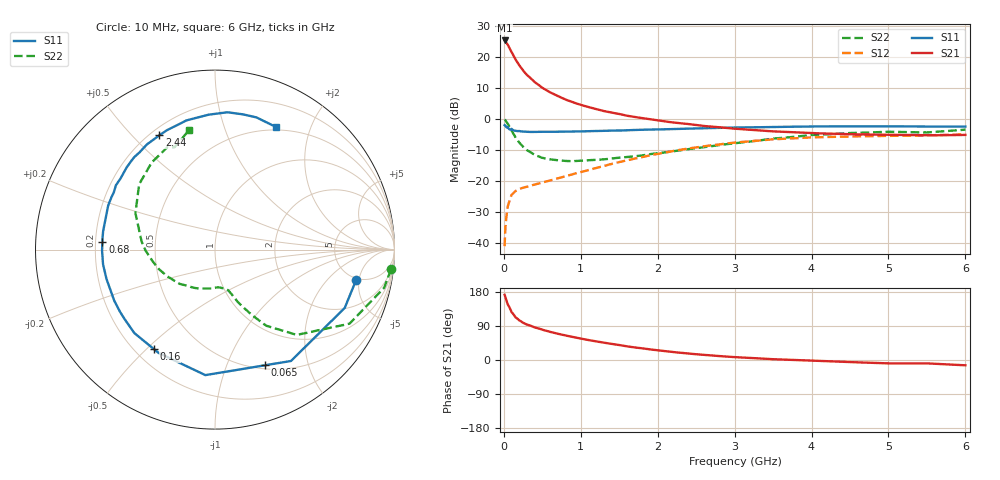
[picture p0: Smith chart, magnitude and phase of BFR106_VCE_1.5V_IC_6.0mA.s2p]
! Infineon Technologies  Discrete & RF Semiconductors
! BFR106
! VCE =  1.5 V,  IC =  6.0 mA
! Common Emitter S-Parameters:  Nov 2015
# GHz  S  MA  R  50
!  f  S11  S21  S12  S22
! GHz  MAG  ANG  MAG  ANG  MAG  ANG  MAG  ANG
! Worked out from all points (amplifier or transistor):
!   210 points, 10 MHz to 6 GHz, reference 50 ohm
!   highest |S21| = 25.5 dB at 10 MHz (marker M1)
!   |S21| within 3 dB of that: start of sweep to 84.01 MHz
!   unconditionally stable (mu >= 1): 570.7 MHz to 2.374 GHz; 4.066 GHz to end of sweep
!   at 185 MHz: K = 0.43, MSG = 20.4 dB, |S12| = -22.7 dB
!   at 1.52 GHz: K = 1.14, MAG = 5.4 dB, |S12| = -13.7 dB
!   at 6 GHz: K = 1.03, MAG = -1.1 dB, |S12| = -4.8 dB
!   S11 on the Smith chart (normalised r, x): 10 MHz: 4.73, -4.55; 65 MHz: 0.54, -1.38; 160 MHz: 0.27, -0.53; 680 MHz: 0.23, +0.03; 2.44 GHz: 0.23, +0.60; 6 GHz: 0.46, +1.51
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0.01  0.8041 -12.2  18.81 172.1  0.0089 84.8  0.9869 -6.4
0.02  0.7926 -24.2  18.49 165.8  0.0174 78.7  0.9663 -12.7
0.05  0.7512 -55.7  16.14 147.0  0.0386 63.0  0.8558 -28.8
0.065  0.7025 -66.5  14.81 142.0  0.0446 57.1  0.7898 -33.1
0.1  0.7014 -94.4  12.28 126.4  0.0599 48.2  0.6587 -46.2
0.15  0.6557 -118.7  9.343 112.9  0.069 40.2  0.5119 -56.0
0.16  0.6502 -121.7  8.958 111.5  0.0701 39.6  0.4937 -56.8
0.2  0.6467 -134.0  7.482 104.7  0.0748 37.4  0.4218 -60.4
0.24  0.635 -142.9  6.395 99.6  0.0777 36.4  0.3694 -63.2
0.3  0.6294 -153.1  5.205 93.5  0.0813 36.8  0.3179 -66.5
0.4  0.6263 -164.9  4.004 86.1  0.0882 38.6  0.2659 -69.5
0.5  0.6291 -172.5  3.23 79.8  0.0946 41.2  0.2383 -72.0
0.68  0.6291 175.9  2.442 70.3  0.1091 46.0  0.219 -78.6
0.8  0.6317 170.6  2.091 64.8  0.1203 48.5  0.2121 -83.6
1.02  0.638 160.8  1.683 55.8  0.1425 52.1  0.2154 -92.4
1.4  0.6582 147.0  1.281 42.5  0.1895 54.5  0.2329 -111.0
2.02  0.6859 127.7  0.95 25.2  0.2793 51.0  0.2846 -142.2
2.44  0.7085 115.9  0.826 16.2  0.3433 45.5  0.335 -162.6
3.1  0.7385 100.5  0.691 6.6  0.4303 34.1  0.4227 169.5
4.1  0.7677 83.5  0.593 -2.4  0.5133 16.6  0.5639 136.4
5.1  0.7697 71.5  0.559 -8.9  0.5424 2.8  0.6255 114.3
6  0.7636 63.6  0.559 -14.0  0.573 -7.1  0.6806 102.3
